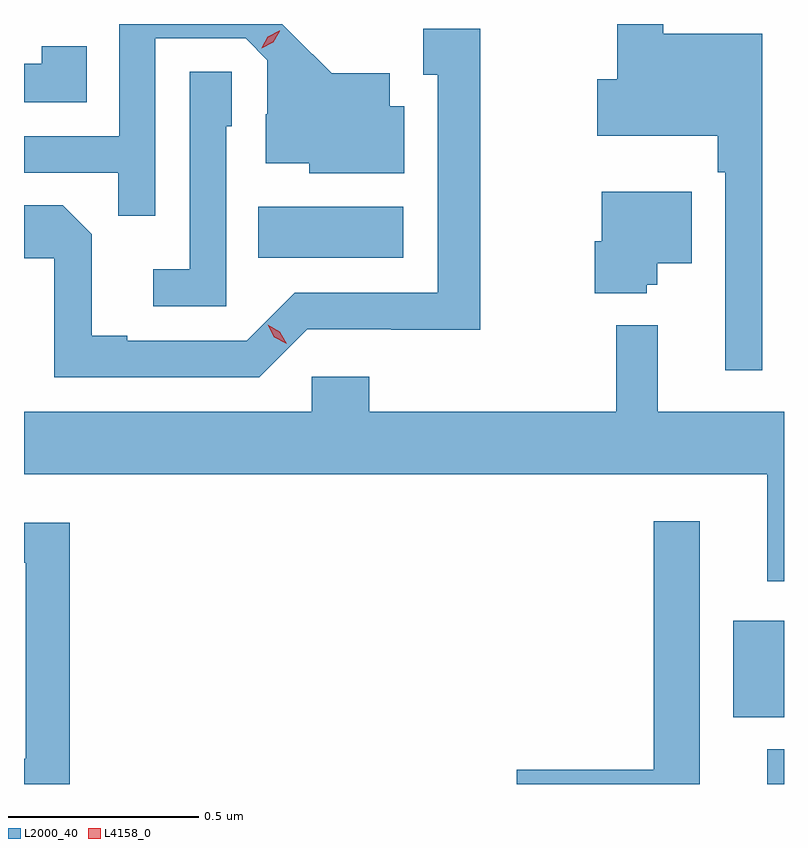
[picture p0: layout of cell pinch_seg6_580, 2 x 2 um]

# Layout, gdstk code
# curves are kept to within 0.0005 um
import gdstk
lib = gdstk.Library(unit=1e-6, precision=1e-09)
def R(c, l, rs):  # rectangles x0, y0, x1, y1
    for r in rs: c.add(gdstk.rectangle(r[:2], r[2:], *l))
def P(c, l, *ps):  # polygons
    for p in ps: c.add(gdstk.Polygon(p, *l))
L2000_40 = (2000, 40)
L4158_0 = (4158, 0)

pinch_seg6_580 = lib.new_cell('pinch_seg6_580')
R(pinch_seg6_580, L2000_40, [(603.575,959.841,603.619,959.932), (603.485,960.017,603.619,960.271), (602.236,961.226,602.617,961.36)])
P(pinch_seg6_580, L2000_40, [(603.562,961.816),(603.301,961.816),(603.301,961.841),(603.18,961.841),(603.18,961.695),(603.128,961.695),(603.128,961.547),(603.445,961.547),(603.445,961.451),(603.465,961.451),(603.465,960.93),(603.562,960.93)],
  [(601.965,961.803),(602.202,961.803),(602.259,961.746),(602.259,961.604),(602.255,961.604),(602.255,961.475),(602.37,961.475),(602.37,961.448),(602.62,961.448),(602.62,961.624),(602.581,961.624),(602.581,961.711),(602.429,961.711),(602.298,961.841),(601.869,961.841),(601.869,961.545),(601.619,961.545),(601.619,961.449),(601.867,961.449),(601.867,961.336),(601.965,961.336)],
  [(602.364,961.038),(602.586,961.038),(602.586,961.037),(602.819,961.037),(602.819,961.828),(602.669,961.828),(602.669,961.707),(602.708,961.707),(602.708,961.134),(602.331,961.134),(602.205,961.008),(601.891,961.008),(601.891,961.021),(601.797,961.021),(601.797,961.288),(601.721,961.364),(601.619,961.364),(601.619,961.224),(601.698,961.224),(601.698,960.912),(602.238,960.912)],
  [(601.784,961.783),(601.666,961.783),(601.666,961.736),(601.619,961.736),(601.619,961.635),(601.784,961.635)],
  [(602.151,961.572),(602.166,961.572),(602.166,961.715),(602.055,961.715),(602.055,961.195),(601.959,961.195),(601.959,961.098),(602.151,961.098)],
  [(603.258,961.155),(603.286,961.155),(603.286,961.211),(603.376,961.211),(603.376,961.399),(603.14,961.399),(603.14,961.269),(603.121,961.269),(603.121,961.133),(603.258,961.133)],
  [(603.619,960.82),(603.287,960.82),(603.287,961.048),(603.177,961.048),(603.177,960.82),(602.528,960.82),(602.528,960.913),(602.376,960.913),(602.376,960.82),(601.619,960.82),(601.619,960.656),(603.575,960.656),(603.575,960.375),(603.619,960.375)],
  [(603.397,960.532),(603.276,960.532),(603.276,959.879),(602.916,959.879),(602.916,959.841),(603.397,959.841)],
  [(601.739,960.529),(601.619,960.529),(601.619,960.423),(601.623,960.423),(601.623,959.907),(601.619,959.907),(601.619,959.841),(601.739,959.841)])
P(pinch_seg6_580, L4158_0, [(602.31,960.999),(602.278,961.017),(602.26,961.05),(602.26,961.05),(602.261,961.05),(602.292,961.031),(602.31,960.999),(602.31,960.999)],
  [(602.244,961.777),(602.244,961.778),(602.261,961.807),(602.291,961.823),(602.292,961.823),(602.292,961.822),(602.275,961.793),(602.245,961.777)])

lib.write_gds('pinch_seg6_580.gds')
